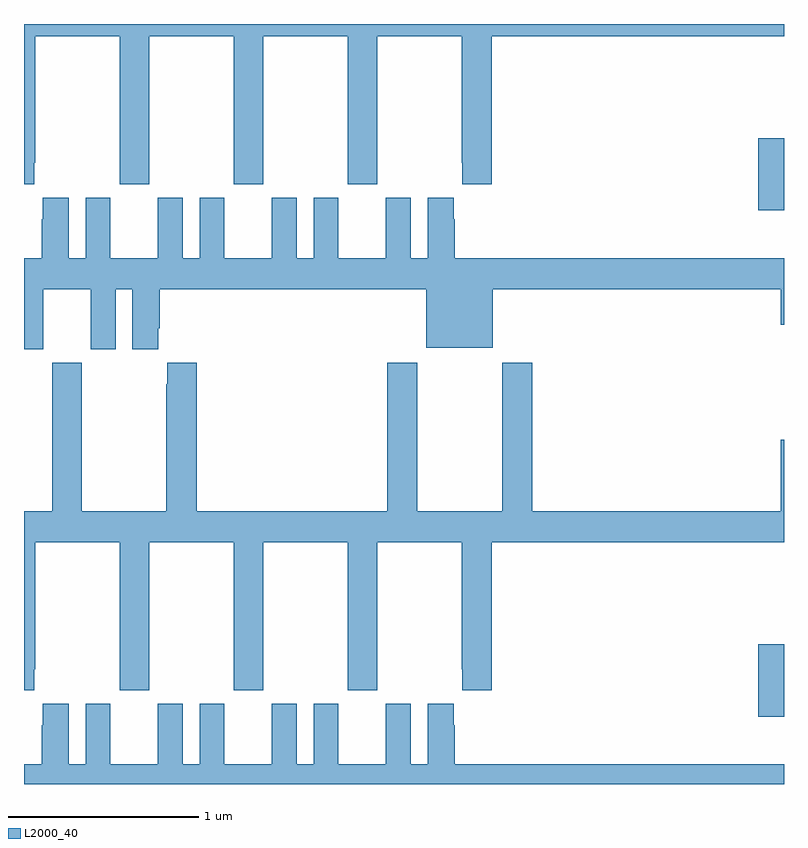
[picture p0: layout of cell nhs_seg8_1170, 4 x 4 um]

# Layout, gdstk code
import gdstk
lib = gdstk.Library(unit=1e-6, precision=1e-09)
def R(c, l, rs):  # rectangles x0, y0, x1, y1
    for r in rs: c.add(gdstk.rectangle(r[:2], r[2:], *l))
def P(c, l, *ps):  # polygons
    for p in ps: c.add(gdstk.Polygon(p, *l))
L2000_40 = (2000, 40)

nhs_seg8_1170 = lib.new_cell('nhs_seg8_1170')
R(nhs_seg8_1170, L2000_40, [(188.864,1110.255,189,1110.636), (188.864,1112.919,189,1113.3)])
P(nhs_seg8_1170, L2000_40, [(186.103,1113.057),(186.258,1113.057),(186.258,1113.836),(186.703,1113.836),(186.703,1113.057),(186.858,1113.057),(186.858,1113.836),(187.303,1113.836),(187.303,1113.169),(187.307,1113.169),(187.307,1113.057),(187.463,1113.057),(187.463,1113.836),(189,1113.836),(189,1113.9),(185,1113.9),(185,1113.057),(185.053,1113.057),(185.053,1113.169),(185.058,1113.169),(185.058,1113.836),(185.503,1113.836),(185.503,1113.057),(185.658,1113.057),(185.658,1113.836),(186.103,1113.836)],
  [(185.101,1112.504),(185.351,1112.504),(185.351,1112.187),(185.482,1112.187),(185.482,1112.504),(185.57,1112.504),(185.57,1112.187),(185.707,1112.187),(185.707,1112.299),(185.714,1112.299),(185.714,1112.504),(187.118,1112.504),(187.118,1112.195),(187.468,1112.195),(187.468,1112.504),(188.984,1112.504),(188.984,1112.316),(189,1112.316),(189,1112.668),(187.268,1112.668),(187.268,1112.873),(187.261,1112.873),(187.261,1112.986),(187.124,1112.986),(187.124,1112.668),(187.036,1112.668),(187.036,1112.986),(186.905,1112.986),(186.905,1112.668),(186.655,1112.668),(186.655,1112.986),(186.524,1112.986),(186.524,1112.668),(186.436,1112.668),(186.436,1112.986),(186.305,1112.986),(186.305,1112.668),(186.055,1112.668),(186.055,1112.986),(185.924,1112.986),(185.924,1112.668),(185.836,1112.668),(185.836,1112.986),(185.705,1112.986),(185.705,1112.668),(185.455,1112.668),(185.455,1112.986),(185.324,1112.986),(185.324,1112.668),(185.236,1112.668),(185.236,1112.986),(185.099,1112.986),(185.099,1112.873),(185.093,1112.873),(185.093,1112.668),(185,1112.668),(185,1112.187),(185.101,1112.187)],
  [(185.053,1110.505),(185.058,1110.505),(185.058,1111.172),(185.503,1111.172),(185.503,1110.393),(185.658,1110.393),(185.658,1111.172),(186.103,1111.172),(186.103,1110.393),(186.258,1110.393),(186.258,1111.172),(186.703,1111.172),(186.703,1110.393),(186.858,1110.393),(186.858,1111.172),(187.303,1111.172),(187.303,1110.505),(187.307,1110.505),(187.307,1110.393),(187.463,1110.393),(187.463,1111.172),(189,1111.172),(189,1111.711),(188.984,1111.711),(188.984,1111.336),(187.676,1111.336),(187.676,1112.116),(187.516,1112.116),(187.516,1111.336),(187.071,1111.336),(187.071,1112.116),(186.911,1112.116),(186.911,1111.336),(185.909,1111.336),(185.909,1112.116),(185.753,1112.116),(185.753,1112.003),(185.749,1112.003),(185.749,1111.336),(185.304,1111.336),(185.304,1112.116),(185.149,1112.116),(185.149,1111.336),(185,1111.336),(185,1110.393),(185.053,1110.393)],
  [(189,1110.004),(187.268,1110.004),(187.268,1110.209),(187.261,1110.209),(187.261,1110.322),(187.124,1110.322),(187.124,1110.004),(187.036,1110.004),(187.036,1110.322),(186.905,1110.322),(186.905,1110.004),(186.655,1110.004),(186.655,1110.322),(186.524,1110.322),(186.524,1110.004),(186.436,1110.004),(186.436,1110.322),(186.305,1110.322),(186.305,1110.004),(186.055,1110.004),(186.055,1110.322),(185.924,1110.322),(185.924,1110.004),(185.836,1110.004),(185.836,1110.322),(185.705,1110.322),(185.705,1110.004),(185.455,1110.004),(185.455,1110.322),(185.324,1110.322),(185.324,1110.004),(185.236,1110.004),(185.236,1110.322),(185.099,1110.322),(185.099,1110.209),(185.093,1110.209),(185.093,1110.004),(185,1110.004),(185,1109.9),(189,1109.9)])

lib.write_gds('nhs_seg8_1170.gds')
